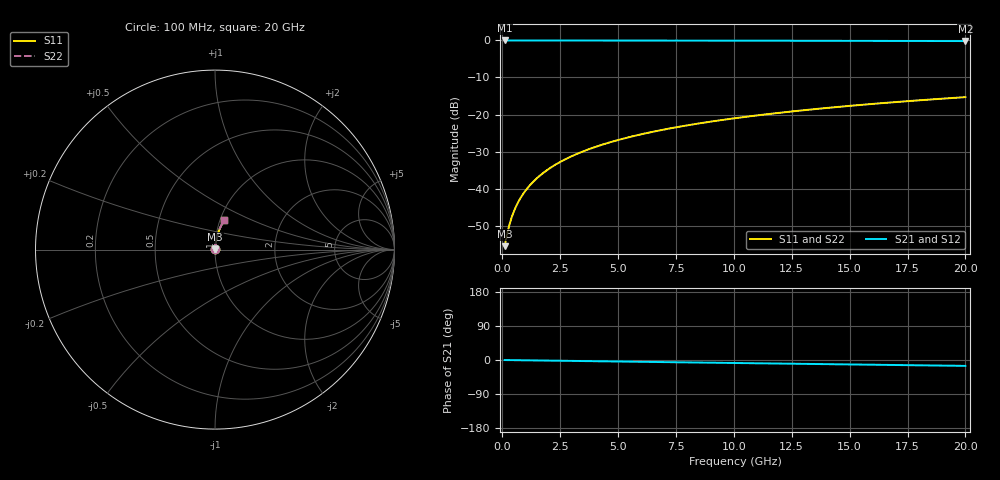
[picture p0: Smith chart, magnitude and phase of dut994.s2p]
! Touchstone file exported from HFSS 2026.1.0
!  File:  C:/ffzhzh/LocalFiles/Ansys_Project_Files/temp_train_TMRDL_994_1783159438_43440.aedt
!  Generated:  06:05:07 PM Jul  4, 2026
!  Design:  TMRDL
!  Project:  temp_train_TMRDL_994_1783159438_43440
! Variables:
!  h_bsmrdl = 2um
!  h_ox = 20um
!  h_rdl = 5um
!  h_sub = 80um
!  h_tmrdl = 4.08um
!  h_tsv = 80um
!  h_via = 3um
!  l_bsmrdl = 300um
!  l_sub = 588.9um
!  l_tmrdl = 188.9um
!  m_sub = 200um
!  pitch = 37.88um
!  r_tsv = 6um
!  s_tmrdl = 10um
!  w_bsmrdl = 18um
!  w_sub = 500um
!  w_tmrdl = 13.4um
!  x_tsv_center1 = 195.6um
!  x_tsv_center2 = 513.6um
!  x_tsv_center3 = 715.9um
!  x_tsv_center4 = 1033.9um
!  x_tsv_center5 = 1236.2um
!  x_tsv_center6 = 1554.2um
# GHz S MA R 50.000000
! Terminal data exported
! Port[1] = TM_RDL1_1_T1
! Port[2] = TM_RDL1_1_T2
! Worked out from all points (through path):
!   200 points, 100 MHz to 20 GHz, reference 50 ohm
!   highest |S21| = -0.01 dB at 100 MHz (marker M1); lowest = -0.2 dB at 20 GHz (marker M2)
!   group delay of S21, straight-line fit = 2.15 ps
!   lowest |S11| = -55.5 dB at 100 MHz (marker M3), VSWR 1.00, Z = 50.1 + j0.0967 ohm
!   |S11| at or under -10 dB: start of sweep to end of sweep
!   |S22| runs from -55.5 to -15.3 dB; largest |S21 - S12| = 3.2e-15
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0.1  0.001671 35.3  0.9986 -0.1  0.9986 -0.1  0.001671 35.3
! Gamma 0 0 0 0
! Port Impedance 50 0 50 0
0.2  0.002372 53.8  0.9986 -0.2  0.9986 -0.2  0.002372 53.8
0.3  0.003193 63.1  0.9986 -0.2  0.9986 -0.2  0.003193 63.1
0.4  0.00405 68.4  0.9985 -0.3  0.9985 -0.3  0.00405 68.4
0.5  0.004921 71.9  0.9985 -0.4  0.9985 -0.4  0.004921 71.9
0.6  0.0058 74.3  0.9985 -0.5  0.9985 -0.5  0.0058 74.3
0.8  0.007573 77.5  0.9984 -0.6  0.9984 -0.6  0.007573 77.5
1.1  0.01026 80.1  0.9983 -0.9  0.9983 -0.9  0.01026 80.1
1.5  0.01386 81.9  0.9982 -1.2  0.9982 -1.2  0.01386 81.9
1.8  0.01657 82.6  0.9981 -1.5  0.9981 -1.5  0.01657 82.6
2.1  0.01928 83.1  0.9981 -1.7  0.9981 -1.7  0.01928 83.1
2.7  0.02469 83.5  0.9978 -2.2  0.9978 -2.2  0.02469 83.5
3.5  0.03189 83.5  0.9974 -2.8  0.9974 -2.8  0.03189 83.5
4.2  0.03815 83.3  0.997 -3.4  0.997 -3.4  0.03815 83.3
5  0.04526 82.9  0.9965 -4.0  0.9965 -4.0  0.04526 82.9
5.9  0.0532 82.4  0.9959 -4.7  0.9959 -4.7  0.0532 82.4
6.8  0.06109 81.8  0.9952 -5.4  0.9952 -5.4  0.06109 81.8
8.3  0.07412 80.8  0.9939 -6.6  0.9939 -6.6  0.07412 80.8
10.1  0.08958 79.6  0.9922 -8.0  0.9922 -8.0  0.08957 79.6
13.4  0.1175 77.3  0.9887 -10.5  0.9887 -10.5  0.1175 77.3
16.7  0.1448 75.0  0.9845 -13.0  0.9845 -13.0  0.1448 75.0
20  0.1716 72.7  0.9798 -15.5  0.9798 -15.5  0.1716 72.7
